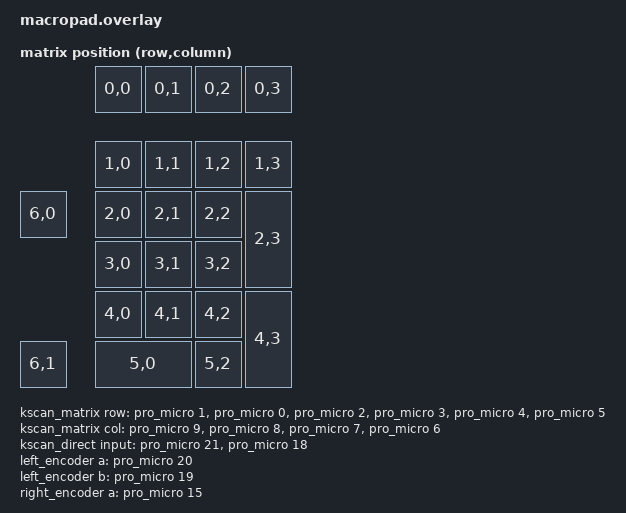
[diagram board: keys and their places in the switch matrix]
#include <dt-bindings/zmk/matrix_transform.h>
#include <physical_layouts.dtsi>

/ {
    chosen {
        zmk,kscan = &kscan0;
        zmk,physical-layout = &physical_layout0; 
    };

    // ==========================================
    // 🎨 物理外观布局 (ZMK Studio 视觉坐标系)
    // ==========================================
    physical_layout0: physical_layout_0 {
        compatible = "zmk,physical-layout";
        display-name = "Macropad Layout";
        transform = <&default_transform>;
        kscan = <&kscan0>;
        
        // 格式标准：<&key_physical_attrs 宽度 高度 X坐标 Y坐标 旋转角度 旋转X 旋转Y>
        // ⚠️ 这里的坐标排序与下方的 default_transform 矩阵映射严格对应
        keys
            // 第一行：顶部独立的 4 颗按键 (Y=0, 起始X=150留出左侧旋钮空间)
            = <&key_physical_attrs 100 100 150 0   0 0 0>   // RC(0,0)
            , <&key_physical_attrs 100 100 250 0   0 0 0>   // RC(0,1)
            , <&key_physical_attrs 100 100 350 0   0 0 0>   // RC(0,2)
            , <&key_physical_attrs 100 100 450 0   0 0 0>   // RC(0,3)

            // 第二行：小键盘第一排 (距离上方 0.5U, 故 Y=150)
            , <&key_physical_attrs 100 100 150 150 0 0 0>   // RC(1,0) - NumLock
            , <&key_physical_attrs 100 100 250 150 0 0 0>   // RC(1,1) - /
            , <&key_physical_attrs 100 100 350 150 0 0 0>   // RC(1,2) - *
            , <&key_physical_attrs 100 100 450 150 0 0 0>   // RC(1,3) - -

            // 第三行：小键盘第二排 
            , <&key_physical_attrs 100 100 150 250 0 0 0>   // RC(2,0) - 7
            , <&key_physical_attrs 100 100 250 250 0 0 0>   // RC(2,1) - 8
            , <&key_physical_attrs 100 100 350 250 0 0 0>   // RC(2,2) - 9
            , <&key_physical_attrs 100 200 450 250 0 0 0>   // RC(2,3) - + (2U 高)

            // 第四行：小键盘第三排 
            , <&key_physical_attrs 100 100 150 350 0 0 0>   // RC(3,0) - 4
            , <&key_physical_attrs 100 100 250 350 0 0 0>   // RC(3,1) - 5
            , <&key_physical_attrs 100 100 350 350 0 0 0>   // RC(3,2) - 6

            // 第五行：小键盘第四排 
            , <&key_physical_attrs 100 100 150 450 0 0 0>   // RC(4,0) - 1
            , <&key_physical_attrs 100 100 250 450 0 0 0>   // RC(4,1) - 2
            , <&key_physical_attrs 100 100 350 450 0 0 0>   // RC(4,2) - 3
            , <&key_physical_attrs 100 200 450 450 0 0 0>   // RC(4,3) - Enter (2U 高)

            // 第六行：小键盘底排 
            , <&key_physical_attrs 200 100 150 550 0 0 0>   // RC(5,0) - 0 (2U 宽)
            , <&key_physical_attrs 100 100 350 550 0 0 0>   // RC(5,2) - .

            // 左侧旋钮按压键 (距离小键盘 1.5U, 故 X=0)
            , <&key_physical_attrs 100 100 0   250 0 0 0>   // RC(6,0) - 与数字7对齐 (Y=250)
            , <&key_physical_attrs 100 100 0   550 0 0 0>   // RC(6,1) - 与数字0对齐 (Y=550)
            ;
    };

    // ==========================================
    // 🔌 混合扫描矩阵 (矩阵按键 + 直连按压)
    // ==========================================
    kscan0: kscan_composite {
        compatible = "zmk,kscan-composite";
        label = "KSCAN0";
        matrix { kscan = <&kscan_matrix>; };
        direct { kscan = <&kscan_direct>; row-offset = <6>; };
    };

    kscan_matrix: kscan_matrix {
        compatible = "zmk,kscan-gpio-matrix";
        label = "KSCAN_MATRIX";
        diode-direction = "row2col";
        row-gpios
            = <&pro_micro 1 GPIO_ACTIVE_HIGH>
            , <&pro_micro 0 GPIO_ACTIVE_HIGH>
            , <&pro_micro 2 GPIO_ACTIVE_HIGH>
            , <&pro_micro 3 GPIO_ACTIVE_HIGH>
            , <&pro_micro 4 GPIO_ACTIVE_HIGH>
            , <&pro_micro 5 GPIO_ACTIVE_HIGH>
            ;
        col-gpios
            = <&pro_micro 9 (GPIO_ACTIVE_HIGH | GPIO_PULL_DOWN)>
            , <&pro_micro 8 (GPIO_ACTIVE_HIGH | GPIO_PULL_DOWN)>
            , <&pro_micro 7 (GPIO_ACTIVE_HIGH | GPIO_PULL_DOWN)>
            , <&pro_micro 6 (GPIO_ACTIVE_HIGH | GPIO_PULL_DOWN)>
            ;
    };

    kscan_direct: kscan_direct {
        compatible = "zmk,kscan-gpio-direct";
        label = "KSCAN_DIRECT";
        input-gpios
            = <&pro_micro 21 (GPIO_ACTIVE_LOW | GPIO_PULL_UP)> 
            , <&pro_micro 18 (GPIO_ACTIVE_LOW | GPIO_PULL_UP)> 
            ;
    };

    // ==========================================
    // 🗺️ 矩阵到代码的映射表 (对应 Keymap 结构)
    // ==========================================
    default_transform: keymap_transform_0 {
        compatible = "zmk,matrix-transform";
        columns = <4>;
        rows = <7>;
        map = <
            RC(0,0) RC(0,1) RC(0,2) RC(0,3)
            RC(1,0) RC(1,1) RC(1,2) RC(1,3)
            RC(2,0) RC(2,1) RC(2,2) RC(2,3)
            RC(3,0) RC(3,1) RC(3,2)         
            RC(4,0) RC(4,1) RC(4,2) RC(4,3)
            RC(5,0) RC(5,2)                 
            RC(6,0) RC(6,1)                 
        >;
    };

    // ==========================================
    // 🎛️ 旋钮传感器硬件定义
    // ==========================================
    left_encoder: encoder_left {
        compatible = "alps,ec11";
        label = "LEFT_ENCODER";
        a-gpios = <&pro_micro 20 (GPIO_ACTIVE_HIGH | GPIO_PULL_UP)>;
        b-gpios = <&pro_micro 19 (GPIO_ACTIVE_HIGH | GPIO_PULL_UP)>;
        steps = <80>;
    };

    right_encoder: encoder_right {
        compatible = "alps,ec11";
        label = "RIGHT_ENCODER";
        a-gpios = <&pro_micro 15 (GPIO_ACTIVE_HIGH | GPIO_PULL_UP)>;
        b-gpios = <&pro_micro 14 (GPIO_ACTIVE_HIGH | GPIO_PULL_UP)>;
        steps = <80>;
    };

    sensors {
        compatible = "zmk,keymap-sensors";
        sensors = <&left_encoder &right_encoder>;
        triggers-per-rotation = <20>;
    };
};
